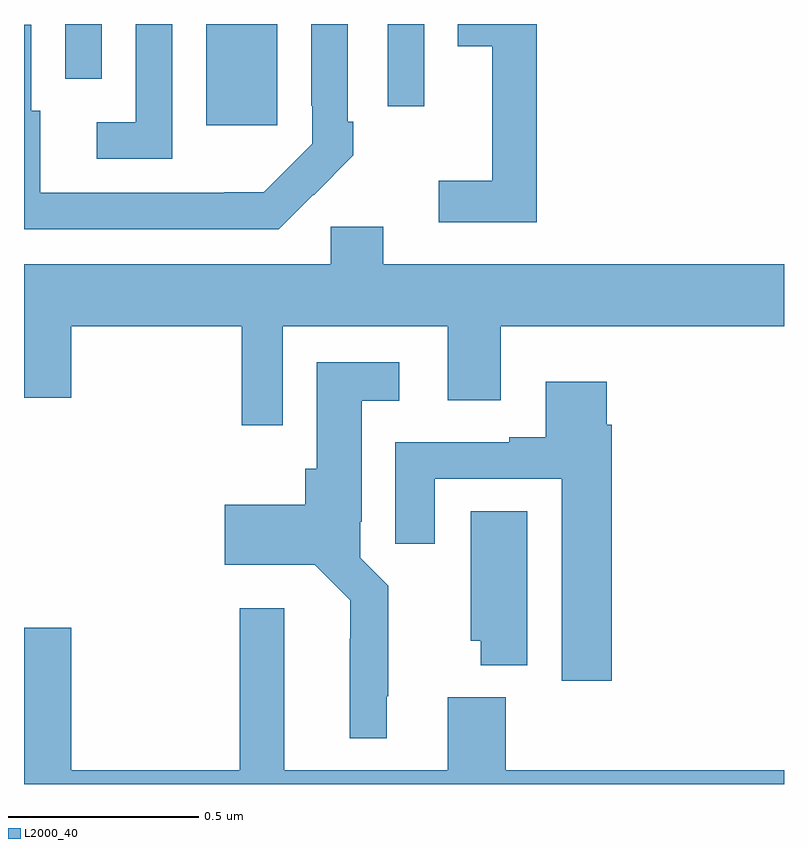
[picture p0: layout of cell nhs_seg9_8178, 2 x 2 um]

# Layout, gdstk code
import gdstk
lib = gdstk.Library(unit=1e-6, precision=1e-09)
def R(c, l, rs):  # rectangles x0, y0, x1, y1
    for r in rs: c.add(gdstk.rectangle(r[:2], r[2:], *l))
def P(c, l, *ps):  # polygons
    for p in ps: c.add(gdstk.Polygon(p, *l))
L2000_40 = (2000, 40)

nhs_seg9_8178 = lib.new_cell('nhs_seg9_8178')
R(nhs_seg9_8178, L2000_40, [(213.479,1246.233,213.667,1246.5), (213.957,1246.284,214.053,1246.5), (213.108,1246.356,213.204,1246.5)])
P(nhs_seg9_8178, L2000_40, [(213.761,1246.051),(213.762,1246.05),(213.867,1246.155),(213.867,1246.243),(213.852,1246.243),(213.852,1246.5),(213.756,1246.5),(213.756,1246.285),(213.759,1246.285),(213.759,1246.185),(213.631,1246.057),(213.527,1246.057),(213.527,1246.056),(213.043,1246.056),(213.043,1246.272),(213.019,1246.272),(213.019,1246.498),(213,1246.498),(213,1245.96),(213.67,1245.96)],
  [(214.349,1246.5),(214.142,1246.5),(214.142,1246.442),(214.232,1246.442),(214.232,1246.087),(214.092,1246.087),(214.092,1245.978),(214.349,1245.978)],
  [(213.39,1246.5),(213.294,1246.5),(213.294,1246.242),(213.192,1246.242),(213.192,1246.146),(213.39,1246.146)],
  [(213.681,1245.704),(214.115,1245.704),(214.115,1245.51),(214.255,1245.51),(214.255,1245.704),(215,1245.704),(215,1245.868),(213.946,1245.868),(213.946,1245.966),(213.807,1245.966),(213.807,1245.868),(213,1245.868),(213,1245.516),(213.124,1245.516),(213.124,1245.704),(213.573,1245.704),(213.573,1245.444),(213.681,1245.444)],
  [(213.955,1244.731),(213.959,1244.731),(213.959,1245.022),(213.885,1245.096),(213.885,1245.19),(213.889,1245.19),(213.889,1245.509),(213.988,1245.509),(213.988,1245.61),(213.77,1245.61),(213.77,1245.33),(213.74,1245.33),(213.74,1245.235),(213.528,1245.235),(213.528,1245.077),(213.765,1245.077),(213.858,1244.984),(213.858,1244.882),(213.857,1244.882),(213.857,1244.621),(213.955,1244.621)],
  [(214.547,1245.446),(214.534,1245.446),(214.534,1245.559),(214.373,1245.559),(214.373,1245.412),(214.277,1245.412),(214.277,1245.399),(213.977,1245.399),(213.977,1245.132),(214.081,1245.132),(214.081,1245.303),(214.415,1245.303),(214.415,1244.772),(214.547,1244.772)],
  [(214.324,1245.218),(214.175,1245.218),(214.175,1244.877),(214.202,1244.877),(214.202,1244.813),(214.324,1244.813)],
  [(215,1244.536),(214.268,1244.536),(214.268,1244.728),(214.115,1244.728),(214.115,1244.536),(213.685,1244.536),(213.685,1244.962),(213.568,1244.962),(213.568,1244.536),(213.124,1244.536),(213.124,1244.911),(213,1244.911),(213,1244.5),(215,1244.5)])

lib.write_gds('nhs_seg9_8178.gds')
